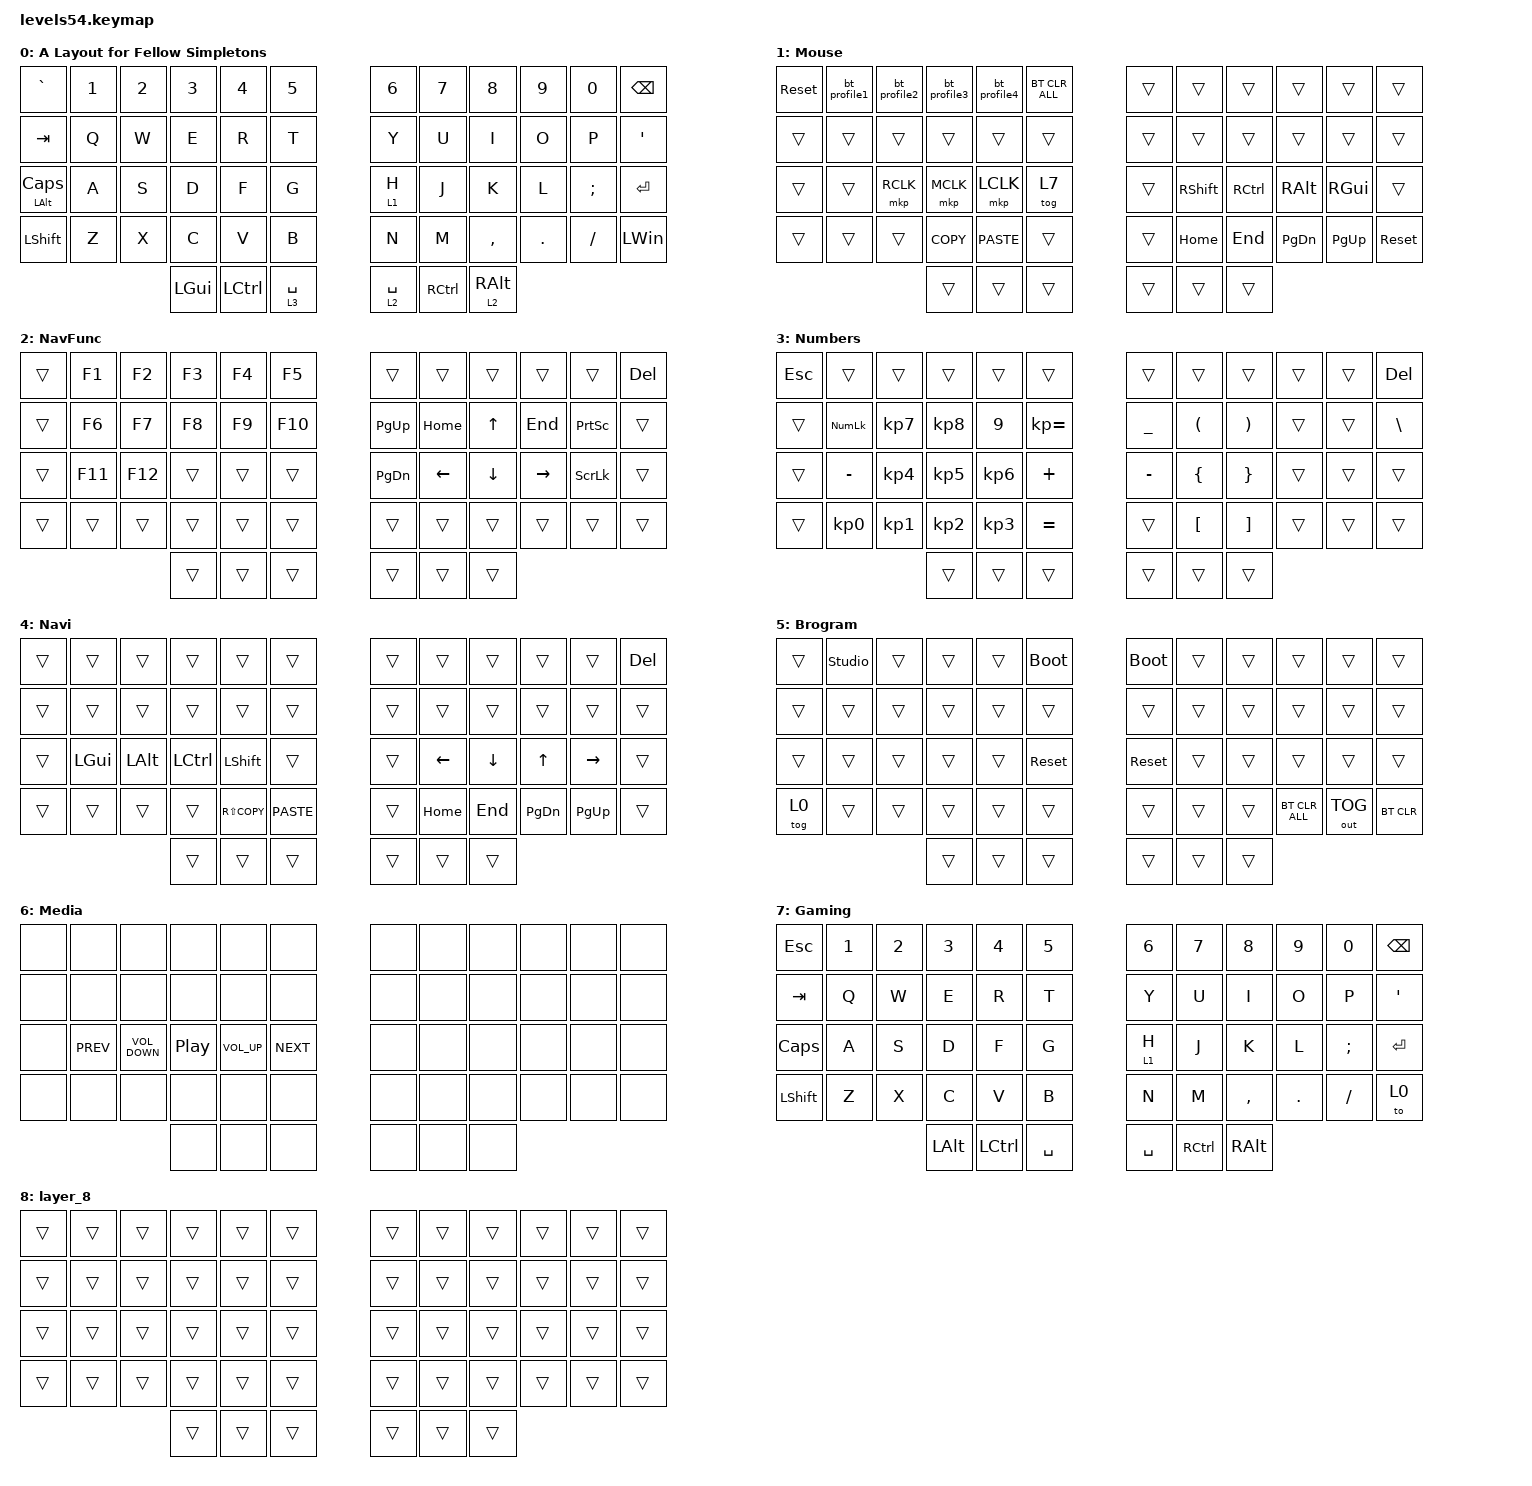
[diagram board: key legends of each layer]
#include <behaviors.dtsi>
#include <dt-bindings/zmk/bt.h>
#include <dt-bindings/zmk/keys.h>
#include <dt-bindings/zmk/outputs.h>
#include <dt-bindings/zmk/pointing.h>

/ {
    combos { compatible = "zmk,combos"; };

    behaviors {
        hml: hml {
            compatible = "zmk,behavior-hold-tap";
            label = "HML";
            bindings = <&kp>, <&kp>;

            #binding-cells = <2>;
            tapping-term-ms = <250>;
            quick-tap-ms = <175>;
            require-prior-idle-ms = <145>;
            flavor = "balanced";
            hold-trigger-key-positions = <6 7 8 9 10 11 18 19 20 21 22 23 30 31 32 33 34 35 42 43 44 45 46 47 51 52 53 50 49 48>;
            hold-trigger-on-release;
        };

        hmr: hmr {
            compatible = "zmk,behavior-hold-tap";
            label = "HMR";
            bindings = <&kp>, <&kp>;

            #binding-cells = <2>;
            tapping-term-ms = <280>;
            quick-tap-ms = <175>;
            require-prior-idle-ms = <150>;
            flavor = "balanced";
            hold-trigger-key-positions = <0 1 5 12 13 14 15 16 17 24 25 26 27 28 29 36 37 38 39 40 41 48 49 50 4 3 15 2 51 52 53>;
            hold-trigger-on-release;
        };

        mouse_tap: mouse_tap {
            compatible = "zmk,behavior-hold-tap";
            label = "MOUSE_TAP";
            bindings = <&mo>, <&kp>;

            #binding-cells = <2>;
            tapping-term-ms = <150>;
            flavor = "hold-preferred";
            hold-trigger-on-release;
            hold-trigger-key-positions = <28 26 27>;
        };
    };

    macros {
        bt_profile1: bt_profile1 {
            compatible = "zmk,behavior-macro";
            #binding-cells = <0>;
            bindings = <&out OUT_BLE &bt BT_SEL 0>;
            label = "BT_PROFILE1";
        };

        bt_profile2: bt_profile2 {
            compatible = "zmk,behavior-macro";
            #binding-cells = <0>;
            bindings = <&out OUT_BLE &bt BT_SEL 1>;
            label = "BT_PROFILE2";
        };

        bt_profile3: bt_profile3 {
            compatible = "zmk,behavior-macro";
            #binding-cells = <0>;
            bindings = <&out OUT_BLE &bt BT_SEL 2>;
            label = "BT_PROFILE3";
        };

        bt_profile4: bt_profile4 {
            compatible = "zmk,behavior-macro";
            #binding-cells = <0>;
            bindings = <&out OUT_BLE &bt BT_SEL 3>;
            label = "BT_PROFILE4";
        };
    };

    keymap {
        compatible = "zmk,keymap";

        SplitQWERTY {
            display-name = "A Layout for Fellow Simpletons";
            bindings = <
&kp GRAVE              &kp NUMBER_1  &kp N2  &kp N3        &kp N4            &kp N5         &kp N6       &kp N7             &kp N8           &kp N9   &kp N0         &kp BACKSPACE
&kp TAB                &kp Q         &kp W   &kp E         &kp R             &kp T          &kp Y        &kp U              &kp I            &kp O    &kp P          &kp SQT
&mt LEFT_ALT CAPSLOCK  &kp A         &kp S   &kp D         &kp F             &kp G          &lt 1 H      &kp J              &kp K            &kp L    &kp SEMICOLON  &kp ENTER
&kp LEFT_SHIFT         &kp Z         &kp X   &kp C         &kp V             &kp B          &kp N        &kp M              &kp COMMA        &kp DOT  &kp SLASH      &kp LEFT_WIN
                                             &kp LEFT_GUI  &kp LEFT_CONTROL  &lt 3 SPACE    &lt 2 SPACE  &kp RIGHT_CONTROL  &lt 2 RIGHT_ALT
            >;
        };

        mouse {
            display-name = "Mouse";
            bindings = <
&sys_reset  &bt_profile1  &bt_profile2  &bt_profile3  &bt_profile4  &bt BT_CLR_ALL    &trans  &trans     &trans     &trans         &trans       &trans
&trans      &trans        &trans        &trans        &trans        &trans            &trans  &trans     &trans     &trans         &trans       &trans
&trans      &trans        &mkp RCLK     &mkp MCLK     &mkp LCLK     &tog 7            &trans  &kp RSHFT  &kp RCTRL  &kp RALT       &kp RGUI     &trans
&trans      &trans        &trans        &kp K_COPY    &kp K_PASTE   &trans            &trans  &kp HOME   &kp END    &kp PAGE_DOWN  &kp PAGE_UP  &sys_reset
                                        &trans        &trans        &trans            &trans  &trans     &trans
            >;
        };

        NavFunc {
            display-name = "NavFunc";
            bindings = <
&trans  &kp F1   &kp F2   &kp F3  &kp F4  &kp F5     &trans         &trans          &trans          &trans           &trans           &kp DELETE
&trans  &kp F6   &kp F7   &kp F8  &kp F9  &kp F10    &kp PAGE_UP    &kp HOME        &kp UP_ARROW    &kp END          &kp PRINTSCREEN  &trans
&trans  &kp F11  &kp F12  &trans  &trans  &trans     &kp PAGE_DOWN  &kp LEFT_ARROW  &kp DOWN_ARROW  &kp RIGHT_ARROW  &kp SCROLLLOCK   &trans
&trans  &trans   &trans   &trans  &trans  &trans     &trans         &trans          &trans          &trans           &trans           &trans
                          &trans  &trans  &trans     &trans         &trans          &trans
            >;
        };

        num {
            display-name = "Numbers";
            bindings = <
&kp ESCAPE  &trans           &trans           &trans           &trans           &trans          &trans     &trans                &trans                 &trans  &trans  &kp DELETE
&trans      &kp KP_NUMLOCK   &kp KP_NUMBER_7  &kp KP_N8        &kp N9           &kp KP_EQUAL    &kp UNDER  &kp LEFT_PARENTHESIS  &kp RIGHT_PARENTHESIS  &trans  &trans  &kp BACKSLASH
&trans      &kp MINUS        &kp KP_NUMBER_4  &kp KP_NUMBER_5  &kp KP_NUMBER_6  &kp PLUS        &kp MINUS  &kp LEFT_BRACE        &kp RIGHT_BRACE        &trans  &trans  &trans
&trans      &kp KP_NUMBER_0  &kp KP_NUMBER_1  &kp KP_NUMBER_2  &kp KP_NUMBER_3  &kp EQUAL       &trans     &kp LEFT_BRACKET      &kp RIGHT_BRACKET      &trans  &trans  &trans
                                              &trans           &trans           &trans          &trans     &trans                &trans
            >;
        };

        nav {
            bindings = <
&trans  &trans        &trans        &trans     &trans          &trans         &trans  &trans    &trans    &trans         &trans       &kp DELETE
&trans  &trans        &trans        &trans     &trans          &trans         &trans  &trans    &trans    &trans         &trans       &trans
&trans  &kp LEFT_GUI  &kp LEFT_ALT  &kp LCTRL  &kp LEFT_SHIFT  &trans         &trans  &kp LEFT  &kp DOWN  &kp UP         &kp RIGHT    &trans
&trans  &trans        &trans        &trans     &kp RS(K_COPY)  &kp K_PASTE    &trans  &kp HOME  &kp END   &kp PAGE_DOWN  &kp PAGE_UP  &trans
                                    &trans     &trans          &trans         &trans  &trans    &trans
            >;

            label = "Navi";
        };

        prog {
            bindings = <
&trans  &studio_unlock  &trans  &trans  &trans  &bootloader    &bootloader  &trans  &trans  &trans          &trans        &trans
&trans  &trans          &trans  &trans  &trans  &trans         &trans       &trans  &trans  &trans          &trans        &trans
&trans  &trans          &trans  &trans  &trans  &sys_reset     &sys_reset   &trans  &trans  &trans          &trans        &trans
&tog 0  &trans          &trans  &trans  &trans  &trans         &trans       &trans  &trans  &bt BT_CLR_ALL  &out OUT_TOG  &bt BT_CLR
                                &trans  &trans  &trans         &trans       &trans  &trans
            >;

            label = "Brogram";
        };

        media {
            bindings = <
&none  &none       &none              &none             &none            &none         &none  &none  &none  &none  &none  &none
&none  &none       &none              &none             &none            &none         &none  &none  &none  &none  &none  &none
&none  &kp C_PREV  &kp C_VOLUME_DOWN  &kp C_PLAY_PAUSE  &kp C_VOLUME_UP  &kp C_NEXT    &none  &none  &none  &none  &none  &none
&none  &none       &none              &none             &none            &none         &none  &none  &none  &none  &none  &none
                                      &none             &none            &none         &none  &none  &none
            >;

            label = "Media";
        };

        Gaming {
            bindings = <
&kp ESC    &kp N1  &kp N2  &kp N3    &kp N4     &kp N5       &kp N6     &kp N7     &kp N8     &kp N9   &kp N0    &kp BSPC
&kp TAB    &kp Q   &kp W   &kp E     &kp R      &kp T        &kp Y      &kp U      &kp I      &kp O    &kp P     &kp SQT
&kp CAPS   &kp A   &kp S   &kp D     &kp F      &kp G        &lt 1 H    &kp J      &kp K      &kp L    &kp SEMI  &kp RET
&kp LSHFT  &kp Z   &kp X   &kp C     &kp V      &kp B        &kp N      &kp M      &kp COMMA  &kp DOT  &kp FSLH  &to 0
                           &kp LALT  &kp LCTRL  &kp SPACE    &kp SPACE  &kp RCTRL  &kp RALT
            >;
        };

        layer_8 {
            bindings = <
&trans  &trans  &trans  &trans  &trans  &trans    &trans  &trans  &trans  &trans  &trans  &trans
&trans  &trans  &trans  &trans  &trans  &trans    &trans  &trans  &trans  &trans  &trans  &trans
&trans  &trans  &trans  &trans  &trans  &trans    &trans  &trans  &trans  &trans  &trans  &trans
&trans  &trans  &trans  &trans  &trans  &trans    &trans  &trans  &trans  &trans  &trans  &trans
                        &trans  &trans  &trans    &trans  &trans  &trans
            >;
        };
    };
};
